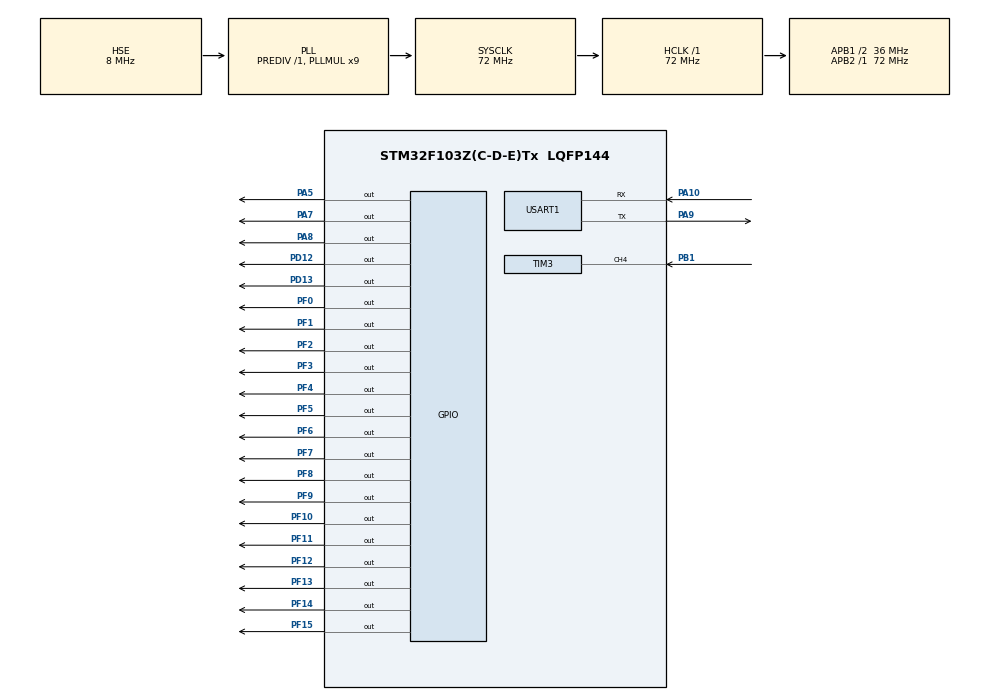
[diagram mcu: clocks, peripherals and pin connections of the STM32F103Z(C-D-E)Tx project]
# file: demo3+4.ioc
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Dma.Request0=USART1_RX
Dma.Request1=USART1_TX
Dma.USART1_RX.0.Direction=DMA_PERIPH_TO_MEMORY
Dma.USART1_RX.0.Instance=DMA1_Channel5
Dma.USART1_RX.0.MemDataAlignment=DMA_MDATAALIGN_BYTE
Dma.USART1_RX.0.MemInc=DMA_MINC_ENABLE
Dma.USART1_RX.0.Mode=DMA_NORMAL
Dma.USART1_RX.0.PeriphDataAlignment=DMA_PDATAALIGN_BYTE
Dma.USART1_RX.0.PeriphInc=DMA_PINC_DISABLE
Dma.USART1_RX.0.Priority=DMA_PRIORITY_LOW
Dma.USART1_TX.1.Direction=DMA_MEMORY_TO_PERIPH
Dma.USART1_TX.1.Instance=DMA1_Channel4
Dma.USART1_TX.1.MemDataAlignment=DMA_MDATAALIGN_BYTE
Dma.USART1_TX.1.MemInc=DMA_MINC_ENABLE
Dma.USART1_TX.1.Mode=DMA_NORMAL
Dma.USART1_TX.1.PeriphDataAlignment=DMA_PDATAALIGN_BYTE
Dma.USART1_TX.1.PeriphInc=DMA_PINC_DISABLE
Dma.USART1_TX.1.Priority=DMA_PRIORITY_LOW
Mcu.Family=STM32F1
Mcu.Name=STM32F103Z(C-D-E)Tx
Mcu.Package=LQFP144
NVIC.DMA1_Channel4_IRQn=true\:0\:0\:false\:false\:true\:false\:true\:true
NVIC.DMA1_Channel5_IRQn=true\:0\:0\:false\:false\:true\:false\:true\:true
NVIC.PriorityGroup=NVIC_PRIORITYGROUP_4
NVIC.TIM3_IRQn=true\:0\:0\:false\:false\:true\:true\:true\:true
NVIC.USART1_IRQn=true\:0\:0\:false\:false\:true\:true\:true\:true
OSC_IN.Mode=HSE-External-Oscillator
OSC_IN.Signal=RCC_OSC_IN
OSC_OUT.Mode=HSE-External-Oscillator
OSC_OUT.Signal=RCC_OSC_OUT
PA10.Mode=Asynchronous
PA10.Signal=USART1_RX
PA13.Mode=Serial_Wire
PA13.Signal=SYS_JTMS-SWDIO
PA14.Mode=Serial_Wire
PA14.Signal=SYS_JTCK-SWCLK
PA5.Signal=GPIO_Output
PA7.Signal=GPIO_Output
PA8.Signal=GPIO_Output
PA9.Mode=Asynchronous
PA9.Signal=USART1_TX
PB1.Signal=S_TIM3_CH4
PD12.Signal=GPIO_Output
PD13.Signal=GPIO_Output
PF0.Signal=GPIO_Output
PF1.Signal=GPIO_Output
PF10.Signal=GPIO_Output
PF11.Signal=GPIO_Output
PF12.Signal=GPIO_Output
PF13.Signal=GPIO_Output
PF14.Signal=GPIO_Output
PF15.Signal=GPIO_Output
PF2.Signal=GPIO_Output
PF3.Signal=GPIO_Output
PF4.Signal=GPIO_Output
PF5.Signal=GPIO_Output
PF6.Signal=GPIO_Output
PF7.Signal=GPIO_Output
PF8.Signal=GPIO_Output
PF9.Signal=GPIO_Output
ProjectManager.HeapSize=0x200
ProjectManager.StackSize=0x400
ProjectManager.TargetToolchain=MDK-ARM V5.32
RCC.AHBFreq_Value=72000000
RCC.APB1CLKDivider=RCC_HCLK_DIV2
RCC.APB1Freq_Value=36000000
RCC.APB1TimFreq_Value=72000000
RCC.APB2Freq_Value=72000000
RCC.APB2TimFreq_Value=72000000
RCC.HCLKFreq_Value=72000000
RCC.PLLMUL=RCC_PLL_MUL9
RCC.PLLSourceVirtual=RCC_PLLSOURCE_HSE
RCC.SYSCLKFreq_VALUE=72000000
RCC.SYSCLKSource=RCC_SYSCLKSOURCE_PLLCLK
RCC.USBFreq_Value=72000000
SH.S_TIM3_CH4.0=TIM3_CH4,Input_Capture4_from_TI4
TIM3.Channel-Input_Capture3_from_TI4_63=TIM_CHANNEL_3
TIM3.Channel-Input_Capture4_from_TI4=TIM_CHANNEL_4
TIM3.ICPolarity_CH3=TIM_INPUTCHANNELPOLARITY_FALLING
TIM3.Prescaler=72-1
USART1.VirtualMode=VM_ASYNC
VP_TIM3_VS_ClockSourceINT.Mode=Internal
VP_TIM3_VS_indirect_ch4.Mode=Input_Capture3_from_TI4_63
board=custom

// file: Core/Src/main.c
/* USER CODE BEGIN Header */
/**
  ******************************************************************************
  * @file           : main.c
  * @brief          : Main program body
  ******************************************************************************
  * @attention
  *
  * Copyright (c) 2025 STMicroelectronics.
  * All rights reserved.
  *
  * This software is licensed under terms that can be found in the LICENSE file
  * in the root directory of this software component.
  * If no LICENSE file comes with this software, it is provided AS-IS.
  *
  ******************************************************************************
  */
/* USER CODE END Header */
#include "main.h"
#include "dma.h"
#include "tim.h"
#include "usart.h"
#include "gpio.h"

/* USER CODE BEGIN Includes */
#include "Init_hardware.h"
#include <stdio.h>
#include <string.h>
/* USER CODE END Includes */

/* USER CODE BEGIN PV */
volatile uint32_t pulse_count = 0;  // 新增脉冲计数器
volatile uint32_t capture_value1 = 0, capture_value2 = 0;
volatile uint32_t period_ticks = 0;
volatile float frequency_hz = 0.0f;
char freq_str[32];
uint8_t dma_tx_complete = 1;  // DMA 发送状态标志
uint8_t dma_tx_ok = 1;
/*数码管*/
volatile uint8_t  seg_buf[] = {0x00,0x00,0x00,0x00,0x00,0x00,0x00,0x00,0x00}; //BUF:SEG_DISP
/*串口数组*/
uint8_t receiveData[] = {0x00,0x00,0x00,0x00,0x00,0x00,0x00,0x00,0x00,0x00};
uint8_t transmitData[] = {0x00,0x00,0x00,0x00,0x00,0x00,0x00,0x00,0x00,0x00};

/* USER CODE END PV */

void SystemClock_Config(void);

/* USER CODE BEGIN 0 */
// DMA 发送完成回调
void HAL_UART_TxCpltCallback(UART_HandleTypeDef *huart) {
    if (huart->Instance == USART1) {
        dma_tx_complete = 1;  // 标记发送完成
    }
}

void HAL_TIM_IC_CaptureCallback(TIM_HandleTypeDef *htim) {
    if (htim->Instance == TIM3) {
        if (htim->Channel == HAL_TIM_ACTIVE_CHANNEL_3) {
            unsigned long value = HAL_TIM_ReadCapturedValue(htim, TIM_CHANNEL_3);

        }
        else if (htim->Channel == HAL_TIM_ACTIVE_CHANNEL_4) {
					 pulse_count++;
					//赋值
					seg_buf[8] = Seg_Table[pulse_count%10];
					seg_buf[7] = Seg_Table[pulse_count/10%10];
					seg_buf[6] = Seg_Table[pulse_count/100%10];
					seg_buf[5] = Seg_Table[pulse_count/1000%10];
					seg_buf[4] = Seg_Table[pulse_count/10000%10];
					seg_buf[3] = Seg_Table[pulse_count/100000%10];
					seg_buf[2] = Seg_Table[pulse_count/1000000%10];
					seg_buf[1] = Seg_Table[pulse_count/10000000%10];

					 capture_value2 = HAL_TIM_ReadCapturedValue(htim, TIM_CHANNEL_4);
		        period_ticks = (capture_value2 > capture_value1) ?
                      (capture_value2 - capture_value1) :
                      (0xFFFF - capture_value1 + capture_value2);
						capture_value1 = capture_value2;
						frequency_hz = 1000000.0f / period_ticks;

        }
    }
}
/* USER CODE END 0 */

int main(void)
{

  /* MCU Configuration--------------------------------------------------------*/

  /* Reset of all peripherals, Initializes the Flash interface and the Systick. */
  HAL_Init();

  /* Configure the system clock */
  SystemClock_Config();

  /* Initialize all configured peripherals */
  MX_GPIO_Init();
  MX_DMA_Init();
  MX_TIM3_Init();
  MX_USART1_UART_Init();
  /* USER CODE BEGIN 2 */
	HAL_TIM_Base_Start(&htim3);
	HAL_TIM_IC_Start_IT(&htim3,TIM_CHANNEL_3);//输入捕获模式开启
	HAL_TIM_IC_Start_IT(&htim3,TIM_CHANNEL_4);

  /* USER CODE END 2 */

  /* Infinite loop */
  while (1)
  {

    /* USER CODE BEGIN 3 */
		for(int i = 1 ; i<= 8 ; i++){
			Seg_disp(seg_buf[i] , i);
		}
        if (dma_tx_complete ) {  // 如果 DMA 空闲
            snprintf(freq_str, sizeof(freq_str), "Freq: %.2f Hz\r\n", frequency_hz);
            dma_tx_complete = 0;  // 标记发送中
            HAL_UART_Transmit_DMA(&huart1, (uint8_t *)freq_str, strlen(freq_str));
        }
  }
  /* USER CODE END 3 */
}

void SystemClock_Config(void)
{
  RCC_OscInitTypeDef RCC_OscInitStruct = {0};
  RCC_ClkInitTypeDef RCC_ClkInitStruct = {0};

  /** Initializes the RCC Oscillators according to the specified parameters
  * in the RCC_OscInitTypeDef structure.
  */
  RCC_OscInitStruct.OscillatorType = RCC_OSCILLATORTYPE_HSE;
  RCC_OscInitStruct.HSEState = RCC_HSE_ON;
  RCC_OscInitStruct.HSEPredivValue = RCC_HSE_PREDIV_DIV1;
  RCC_OscInitStruct.HSIState = RCC_HSI_ON;
  RCC_OscInitStruct.PLL.PLLState = RCC_PLL_ON;
  RCC_OscInitStruct.PLL.PLLSource = RCC_PLLSOURCE_HSE;
  RCC_OscInitStruct.PLL.PLLMUL = RCC_PLL_MUL9;
  if (HAL_RCC_OscConfig(&RCC_OscInitStruct) != HAL_OK)
  {
    Error_Handler();
  }

  /** Initializes the CPU, AHB and APB buses clocks
  */
  RCC_ClkInitStruct.ClockType = RCC_CLOCKTYPE_HCLK|RCC_CLOCKTYPE_SYSCLK
                              |RCC_CLOCKTYPE_PCLK1|RCC_CLOCKTYPE_PCLK2;
  RCC_ClkInitStruct.SYSCLKSource = RCC_SYSCLKSOURCE_PLLCLK;
  RCC_ClkInitStruct.AHBCLKDivider = RCC_SYSCLK_DIV1;
  RCC_ClkInitStruct.APB1CLKDivider = RCC_HCLK_DIV2;
  RCC_ClkInitStruct.APB2CLKDivider = RCC_HCLK_DIV1;

  if (HAL_RCC_ClockConfig(&RCC_ClkInitStruct, FLASH_LATENCY_2) != HAL_OK)
  {
    Error_Handler();
  }
}

void Error_Handler(void)
{
  __disable_irq();
  while (1)
  {
  }
}
